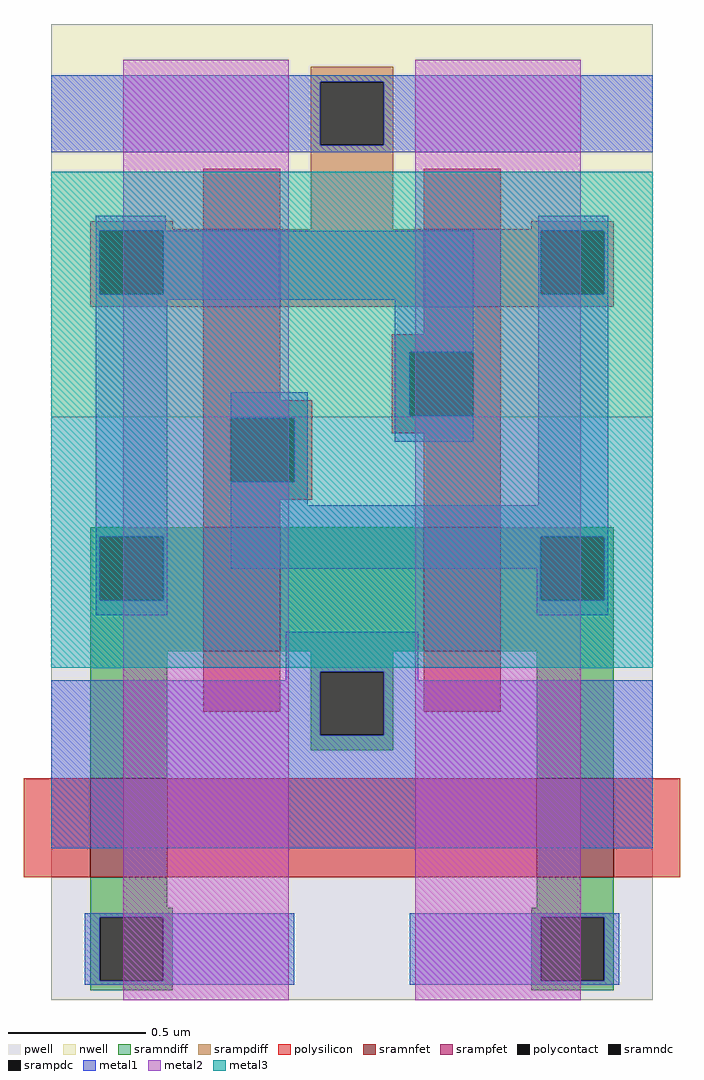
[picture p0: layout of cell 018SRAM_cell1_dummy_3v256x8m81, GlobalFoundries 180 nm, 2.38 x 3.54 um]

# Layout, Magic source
magic
tech gf180mcuD
magscale 1 10
<< nwell >>
rect 82 512 518 797
<< pwell >>
rect 82 89 518 512
<< sramnfet >>
rect 192 342 248 432
rect 352 342 408 432
rect 110 178 166 250
rect 434 178 490 250
<< srampfet >>
rect 192 592 248 648
rect 352 592 408 648
<< sramndiff >>
rect 110 425 192 432
rect 110 379 117 425
rect 163 379 192 425
rect 110 342 192 379
rect 248 342 352 432
rect 408 425 490 432
rect 408 379 437 425
rect 483 379 490 425
rect 408 342 490 379
rect 110 250 166 342
rect 270 327 330 342
rect 270 281 277 327
rect 323 281 330 327
rect 270 270 330 281
rect 434 250 490 342
rect 110 156 166 178
rect 434 156 490 178
rect 110 149 170 156
rect 110 103 117 149
rect 163 103 170 149
rect 110 96 170 103
rect 430 149 490 156
rect 430 103 437 149
rect 483 103 490 149
rect 430 96 490 103
<< srampdiff >>
rect 270 755 330 766
rect 270 709 277 755
rect 323 709 330 755
rect 110 648 170 654
rect 270 648 330 709
rect 430 648 490 654
rect 110 647 192 648
rect 110 601 117 647
rect 163 601 192 647
rect 110 592 192 601
rect 248 592 352 648
rect 408 647 490 648
rect 408 601 437 647
rect 483 601 490 647
rect 408 592 490 601
<< sramndc >>
rect 117 379 163 425
rect 437 379 483 425
rect 277 281 323 327
rect 117 103 163 149
rect 437 103 483 149
<< srampdc >>
rect 277 709 323 755
rect 117 601 163 647
rect 437 601 483 647
<< polysilicon >>
rect 192 648 248 692
rect 352 648 408 692
rect 192 524 248 592
rect 352 572 408 592
rect 329 559 408 572
rect 192 511 271 524
rect 192 465 212 511
rect 258 465 271 511
rect 329 513 342 559
rect 388 513 408 559
rect 329 500 408 513
rect 192 452 271 465
rect 192 432 248 452
rect 352 432 408 500
rect 192 298 248 342
rect 352 298 408 342
rect 62 178 110 250
rect 166 178 434 250
rect 490 178 538 250
<< polycontact >>
rect 212 465 258 511
rect 342 513 388 559
<< metal1 >>
rect 82 755 518 760
rect 82 709 277 755
rect 323 709 518 755
rect 82 704 518 709
rect 114 647 165 658
rect 435 647 486 658
rect 114 601 117 647
rect 163 601 388 647
rect 114 597 388 601
rect 114 425 166 597
rect 331 559 388 597
rect 114 379 117 425
rect 163 379 166 425
rect 212 511 268 530
rect 258 465 268 511
rect 331 513 342 559
rect 331 494 388 513
rect 435 601 437 647
rect 483 601 486 647
rect 212 448 268 465
rect 435 448 486 601
rect 212 425 486 448
rect 212 402 437 425
rect 114 368 166 379
rect 434 379 437 402
rect 483 379 486 425
rect 434 368 486 379
rect 252 327 348 356
rect 252 321 277 327
rect 82 281 277 321
rect 323 321 348 327
rect 323 281 518 321
rect 82 199 518 281
rect 106 149 258 152
rect 106 103 117 149
rect 163 103 258 149
rect 106 100 258 103
rect 342 149 494 152
rect 342 103 437 149
rect 483 103 494 149
rect 342 100 494 103
<< metal2 >>
rect 134 89 254 771
rect 346 89 466 771
<< metal3 >>
rect 82 330 518 690
<< properties >>
string FIXED_BBOX 82 126 518 732
string MASKHINTS_NPLUS 64 64 536 478
string MASKHINTS_PPLUS 78 546 522 798
string MASKHINTS_SRAMDEF 82 89 518 797
<< end >>
